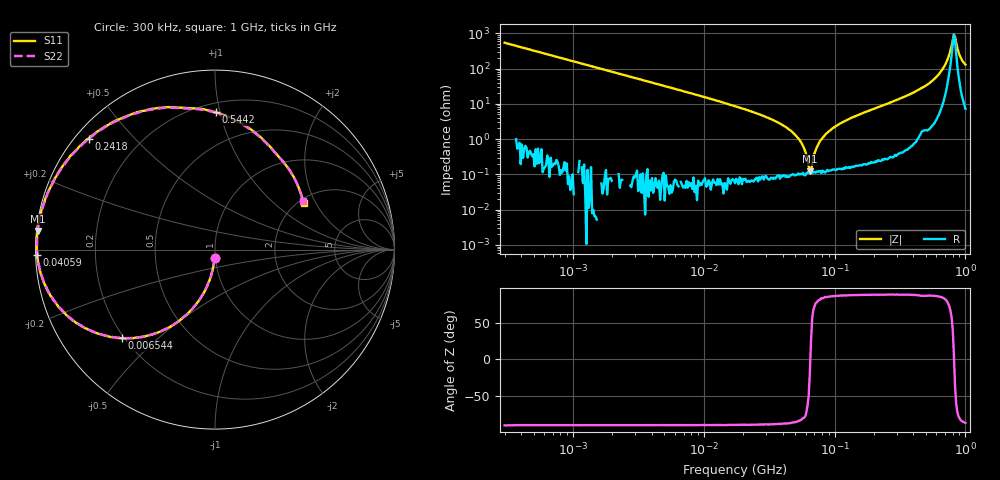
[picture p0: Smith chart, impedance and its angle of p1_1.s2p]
#  HZ  S  RI  R  50
! Rohde & Schwarz ZVA/B
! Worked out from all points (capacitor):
!   401 points, 300 kHz to 1 GHz, reference 50 ohm
!   read as one part in shunt: C = 989 pF near 312.4 kHz
!   lowest |Z| = 122 mohm at 64.72 MHz (marker M1)
!   series resonance near 65.24 MHz, so ESL is about 6 nH
!   S11 on the Smith chart (normalised r, x): 300 kHz: 0.99, -0.09; 6.544 MHz: 0.19, -0.39; 40.59 MHz: 0.00, -0.01; 241.8 MHz: 0.04, +0.38; 544.2 MHz: 0.26, +0.97; 1 GHz: 2.14, +1.60
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300000  -0.0018 -0.0462  0.9977 -0.0468  0.9983 -0.0466  -0.0021 -0.0453
1167356  -0.0318 -0.1751  0.9681 -0.1765  0.9678 -0.1768  -0.0325 -0.1747
2422493  -0.1251 -0.3289  0.8766 -0.332  0.8755 -0.3332  -0.1244 -0.3276
4542403  -0.3367 -0.4685  0.6638 -0.4758  0.6624 -0.4755  -0.3364 -0.4673
6543576  -0.5177 -0.4933  0.4816 -0.5049  0.4842 -0.5053  -0.5165 -0.4939
1.732051e7  -0.9014 -0.282  0.0995 -0.311  0.0997 -0.3098  -0.8979 -0.2806
4.05941e7  -0.9905 -0.0296  0.00645 -0.0956  0.00604 -0.0958  -0.9901 -0.0261
5.392171e7  -0.9917 0.0507  0.00195 -0.0375  0.00145 -0.0377  -0.9913 0.0544
5.847799e7  -0.992 0.0738  0.00216 -0.0215  0.00264 -0.0212  -0.9902 0.0771
6.341927e7  -0.9901 0.0995  0.0039 -0.00545  0.00409 -0.00539  -0.9873 0.1007
6.47185e7  -0.9887 0.1043  0.00444 -0.00193  0.00411 -0.00171  -0.9871 0.1079
6.739735e7  -0.9867 0.1172  0.00504 0.00589  0.00511 0.00646  -0.9854 0.1197
7.162496e7  -0.9853 0.136  0.00691 0.0178  0.00716 0.0177  -0.9808 0.1391
7.611776e7  -0.9817 0.154  0.00962 0.0297  0.00943 0.0293  -0.9791 0.1566
9.323049e7  -0.9669 0.2209  0.0208 0.0683  0.0209 0.068  -0.9633 0.222
1.316074e8  -0.9163 0.3472  0.0575 0.135  0.0579 0.1348  -0.9141 0.3516
2.418222e8  -0.7047 0.6188  0.215 0.2319  0.2151 0.2325  -0.7009 0.6185
2.622557e8  -0.6591 0.6552  0.2488 0.2375  0.2487 0.2369  -0.6524 0.654
3.855332e8  -0.3528 0.7841  0.4503 0.1889  0.4501 0.1897  -0.3493 0.7801
5.44232e8  0.00411 0.7652  0.6192 -0.0213  0.6196 -0.0204  0.00384 0.7616
7.22911e8  0.2893 0.5915  0.6342 -0.3397  0.6353 -0.3395  0.2842 0.5946
1e9  0.4943 0.2579  0.3606 -0.7154  0.3606 -0.7157  0.4917 0.2711
